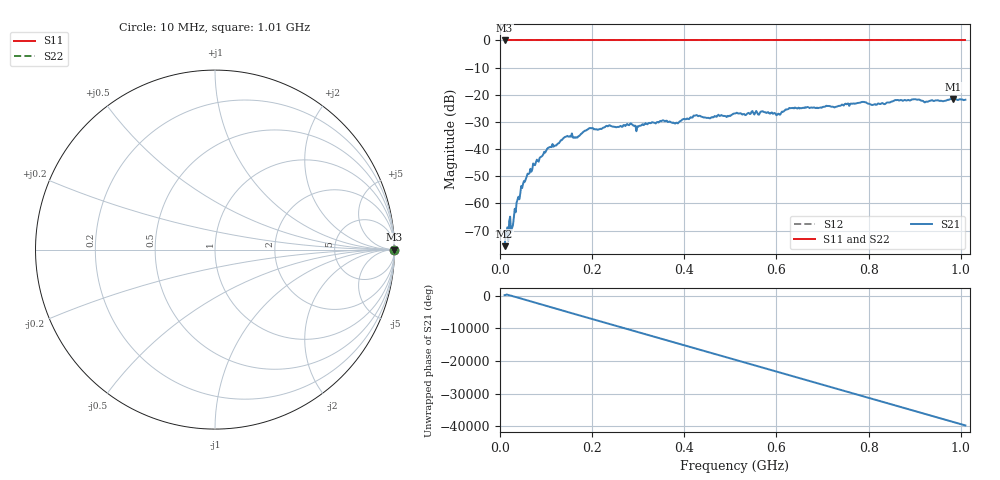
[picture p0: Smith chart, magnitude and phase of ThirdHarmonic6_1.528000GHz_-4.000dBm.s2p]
! 8/16/2025 6:03:59 PM
! C:\ANRITSUVNA\TEMP\TEMP.S2P
! CHANNEL.1
! TR.MEASUREMENT
! RAW.DATA
! RF.CORRECTION.OFF
! AVERAGING.OFF
! IF.BANDWIDTH: 5KHZ
! SWEEPTYPE:  FREQ.SWEEP(Linear)
! Reference Plane Port Info
! PORT:  PORT1  PORT2
! DISTANCE:  0  m  0  m
! TIME:  0  s  0  s
! PHASE.OFFSET:  0  deg.  0  deg.
! LOSS:  0  dB  0  dB
! REF.LOSS:  0  dB  0  dB
! REF.FREQ:  0  Hz  0  Hz
! Power Info
! POWER:  -20  dBm  -20  dBm
! EFF.POWER:  -20  dBm  -20  dBm
! SOURCE.ATTEN:  0  dB  0  dB
! TEST.ATTEN:  0  dB  0  dB
# GHZ S RI R 50.0
! FREQ.GHZ  S11RE  S11IM  S21RE  S21IM  S12RE  S12IM  S22RE  S22IM
!; PortSelection: Port_12
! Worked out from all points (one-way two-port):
!   501 points, 10 MHz to 1.01 GHz, reference 50 ohm
!   highest |S21| = -21.54 dB at 984 MHz (marker M1); lowest = -75.7 dB at 10 MHz (marker M2)
!   lowest |S11| = 0.0 dB at 10 MHz (marker M3)
!   |S11| at or under -10 dB: nowhere
!   |S22| runs from 0.0 to 0.0 dB; largest |S21 - S12| = 1.1
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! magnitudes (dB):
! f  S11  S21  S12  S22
! 10 MHz  0.0  -75.7  0.0  0.0
! 18 MHz  0.0  -73.7  0.0  0.0
! 28 MHz  0.0  -68.1  0.0  0.0
! 36 MHz  0.0  -59.7  0.0  0.0
! 48 MHz  0.0  -54.3  0.0  0.0
! 76 MHz  0.0  -45.9  0.0  0.0
! 106 MHz  0.0  -39.4  0.0  0.0
! 142 MHz  0.0  -35.5  0.0  0.0
! 178 MHz  0.0  -34.2  0.0  0.0
! 196 MHz  0.0  -32.2  0.0  0.0
! 300 MHz  0.0  -31.8  0.0  0.0
! 344 MHz  0.0  -30.2  0.0  0.0
! 382 MHz  0.0  -30.3  0.0  0.0
! 424 MHz  0.0  -27.6  0.0  0.0
! 452 MHz  0.0  -28.5  0.0  0.0
! 510 MHz  0.0  -26.9  0.0  0.0
! 604 MHz  0.0  -26.9  0.0  0.0
! 632 MHz  0.0  -24.9  0.0  0.0
! 678 MHz  0.0  -24.8  0.0  0.0
! 844 MHz  0.0  -22.8  0.0  0.0
! 984 MHz  0.0  -21.5  0.0  0.0
! 1.01 GHz  0.0  -21.8  0.0  0.0
